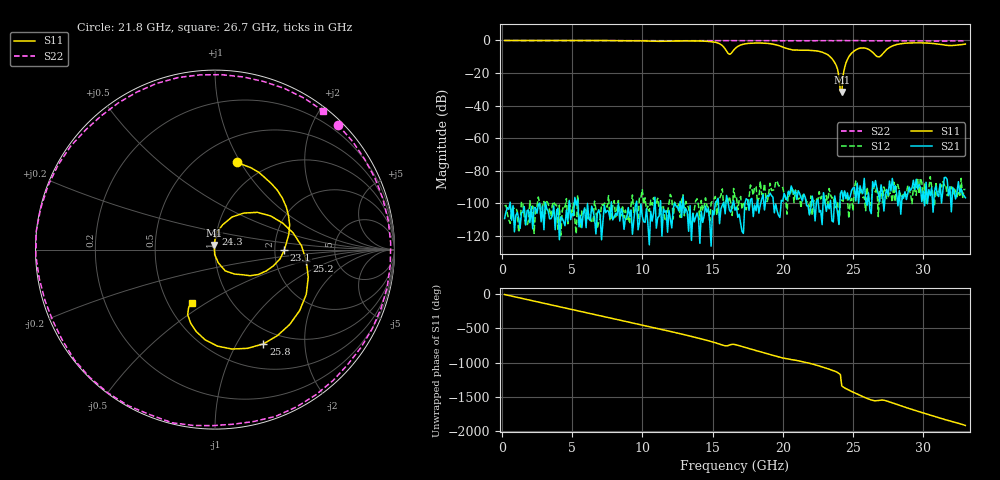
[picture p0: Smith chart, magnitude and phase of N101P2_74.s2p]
# GHZ S RI R 50
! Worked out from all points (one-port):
!   329 points, 200 MHz to 33 GHz, reference 50 ohm
!   lowest |S11| = -31.6 dB at 24.2 GHz (marker M1), VSWR 1.05, Z = 49.4 + j2.56 ohm
!   |S11| at or under -10 dB: 23.37 GHz to 24.7 GHz (1.329 GHz wide, 5.53 % of centre); 26.76934 GHz to 26.86021 GHz (90.87 MHz wide, 0.339 % of centre)
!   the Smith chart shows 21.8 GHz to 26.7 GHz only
!   S11 on the Smith chart (normalised r, x): 21.8 GHz: 0.74, +0.96; 23.1 GHz: 2.25, -0.02; 24.3 GHz: 1.00, +0.18; 25.2 GHz: 3.00, -0.52; 25.8 GHz: 0.80, -1.30; 26.7 GHz: 0.66, -0.44
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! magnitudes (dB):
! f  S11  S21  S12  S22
! 200 MHz  0.0  -109.3  -101.7  0.0
! 5.7 GHz  0.0  -114.9  -104.8  0.0
! 11.2 GHz  -0.5  -107.9  -103.6  -0.2
! 15.2 GHz  -1.1  -100.0  -95.8  -0.1
! 16.2 GHz  -8.5  -104.1  -95.8  -0.1
! 16.6 GHz  -5.0  -104.3  -96.4  -0.1
! 18.4 GHz  -1.6  -101.2  -86.4  -0.1
! 21.8 GHz  -6.0  -101.5  -99.1  -0.2
! 22.1 GHz  -6.1  -95.6  -107.4  -0.2
! 23.1 GHz  -8.3  -104.9  -95.2  -0.2
! 23.8 GHz  -15.2  -100.7  -102.0  -0.1
! 24 GHz  -22.4  -113.0  -113.6  -0.1
! 24.1 GHz  -31.1  -94.0  -98.9  0.0
! 24.2 GHz  -31.6  -92.3  -98.0  0.0
! 24.3 GHz  -21.2  -97.5  -98.7  0.0
! 24.6 GHz  -11.7  -93.6  -96.5  -0.1
! 25.2 GHz  -5.8  -98.5  -86.3  0.0
! 25.8 GHz  -4.6  -84.7  -96.0  -0.2
! 26.7 GHz  -9.8  -90.8  -89.7  -0.2
! 27.6 GHz  -4.3  -86.3  -93.8  -0.2
! 29 GHz  -1.5  -90.0  -91.6  -0.2
! 33 GHz  -2.2  -96.6  -91.5  -0.3
